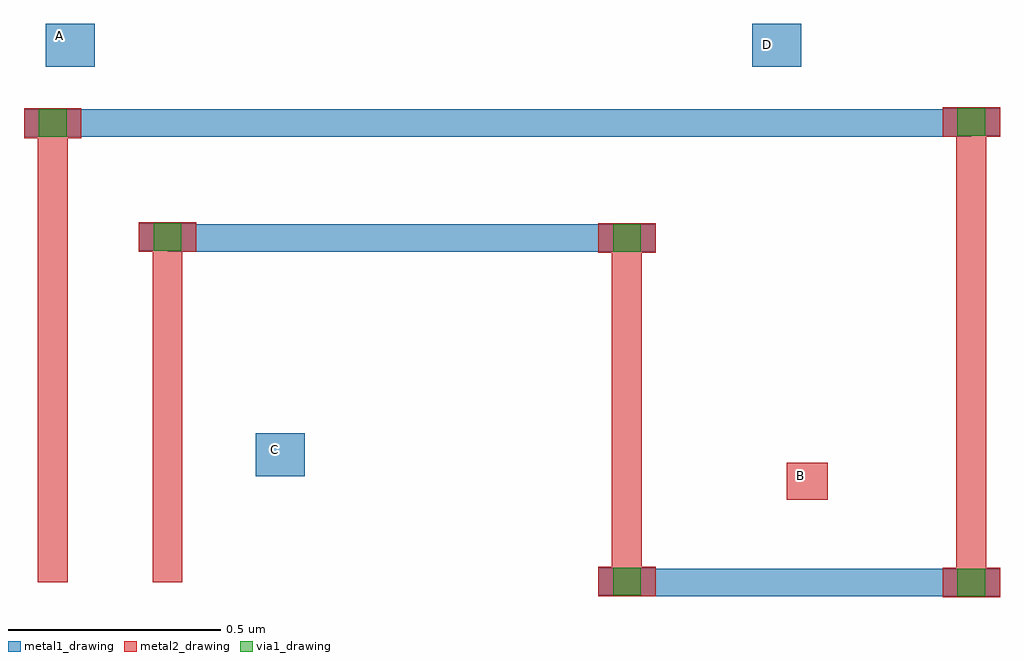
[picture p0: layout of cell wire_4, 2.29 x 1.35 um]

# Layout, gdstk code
from math import pi, radians
import gdstk
lib = gdstk.Library(unit=1e-6, precision=5e-10)
def R(c, l, rs):  # rectangles x0, y0, x1, y1
    for r in rs: c.add(gdstk.rectangle(r[:2], r[2:], *l))
metal1_drawing = (11, 0)
via1_drawing = (12, 0)
metal2_drawing = (13, 0)

via1_1x1_num8 = lib.new_cell('via1_1x1_num8')
R(via1_1x1_num8, metal1_drawing, [(0.0025,0,0.0675,0.135)])
R(via1_1x1_num8, via1_drawing, [(0.0025,0.035,0.0675,0.1)])
R(via1_1x1_num8, metal2_drawing, [(0,0,0.07,0.135)])

wire_4 = lib.new_cell('wire_4')
R(wire_4, metal1_drawing, [(1.08,-0.0325,1.89,0.0325), (1.855,-0.0325,1.925,0.0325), (1.045,-0.03,1.115,0.035), (0.208,0.25,0.323,0.351), (0,0.7775,0.27,0.8425), (0.27,0.7775,1.08,0.8425), (1.045,0.7775,1.115,0.8425), (-0.035,0.78,0.035,0.845), (-0.305,1.0475,-0.235,1.1125), (-0.27,1.0475,1.89,1.1125), (1.855,1.05,1.925,1.115), (-0.286,1.213,-0.171,1.314), (1.375,1.213,1.49,1.314)])
R(wire_4, metal2_drawing, [(1.855,-0.0325,1.925,0.0325), (1.045,-0.03,1.115,0.035), (-0.305,0,-0.235,1.08), (-0.035,0,0.035,0.81), (1.045,0,1.115,0.81), (1.855,0,1.925,1.08), (1.456,0.194,1.553,0.281), (1.045,0.7775,1.115,0.8425), (-0.035,0.78,0.035,0.845), (-0.305,1.0475,-0.235,1.1125), (1.855,1.05,1.925,1.115)])
wire_4.add(gdstk.Reference(via1_1x1_num8, (-0.2025,1.045), rotation=pi/2))
wire_4.add(gdstk.Reference(via1_1x1_num8, (1.9575,1.0475), rotation=pi/2))
wire_4.add(gdstk.Reference(via1_1x1_num8, (1.9575,-0.035), rotation=pi/2))
wire_4.add(gdstk.Reference(via1_1x1_num8, (1.1475,-0.0325), rotation=pi/2))
wire_4.add(gdstk.Reference(via1_1x1_num8, (1.1475,0.775), rotation=pi/2))
wire_4.add(gdstk.Reference(via1_1x1_num8, (0.0675,0.7775), rotation=pi/2))
wire_4.add(gdstk.Label('A', (-0.255,1.287), layer=11, texttype=0))
wire_4.add(gdstk.Label('B', (1.488,0.251), layer=13, texttype=0))
wire_4.add(gdstk.Label('D', (1.411,1.264), layer=0, texttype=0))
wire_4.add(gdstk.Label('C', (0.252,0.312), layer=0, texttype=0))

lib.write_gds('wire_4.gds')
